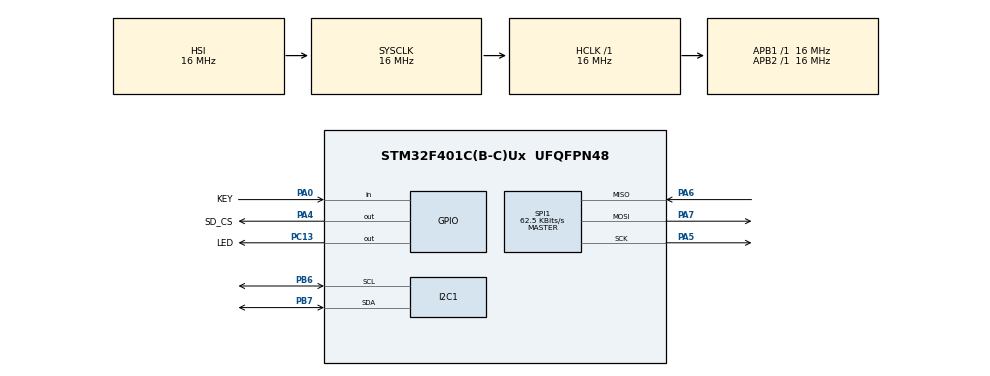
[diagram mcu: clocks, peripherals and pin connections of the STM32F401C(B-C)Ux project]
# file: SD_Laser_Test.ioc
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Mcu.Family=STM32F4
Mcu.Name=STM32F401C(B-C)Ux
Mcu.Package=UFQFPN48
NVIC.PriorityGroup=NVIC_PRIORITYGROUP_4
PA0-WKUP.GPIO_Label=KEY
PA0-WKUP.GPIO_PuPd=GPIO_PULLUP
PA0-WKUP.Signal=GPIO_Input
PA13.Mode=Serial_Wire
PA13.Signal=SYS_JTMS-SWDIO
PA14.Mode=Serial_Wire
PA14.Signal=SYS_JTCK-SWCLK
PA4.GPIO_Label=SD_CS
PA4.GPIO_Speed=GPIO_SPEED_FREQ_MEDIUM
PA4.PinState=GPIO_PIN_SET
PA4.Signal=GPIO_Output
PA5.Mode=Full_Duplex_Master
PA5.Signal=SPI1_SCK
PA6.Mode=Full_Duplex_Master
PA6.Signal=SPI1_MISO
PA7.Mode=Full_Duplex_Master
PA7.Signal=SPI1_MOSI
PB6.Mode=I2C
PB6.Signal=I2C1_SCL
PB7.Mode=I2C
PB7.Signal=I2C1_SDA
PC13-ANTI_TAMP.GPIO_Label=LED
PC13-ANTI_TAMP.Signal=GPIO_Output
ProjectManager.HeapSize=0x200
ProjectManager.StackSize=0x400
ProjectManager.TargetToolchain=STM32CubeIDE
RCC.AHBFreq_Value=16000000
RCC.APB1Freq_Value=16000000
RCC.APB2Freq_Value=16000000
RCC.CortexFreq_Value=16000000
RCC.HSE_VALUE=25000000
RCC.HSI_VALUE=16000000
RCC.LSE_VALUE=32768
RCC.SYSCLKFreq_VALUE=16000000
RCC.VCOOutputFreq_Value=192000000
SPI1.BaudRatePrescaler=SPI_BAUDRATEPRESCALER_256
SPI1.CalculateBaudRate=62.5 KBits/s
SPI1.Direction=SPI_DIRECTION_2LINES
SPI1.Mode=SPI_MODE_MASTER
SPI1.VirtualType=VM_MASTER
VP_FATFS_VS_Generic.Mode=User_defined
board=custom

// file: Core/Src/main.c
/* USER CODE BEGIN Header */
/**
  ******************************************************************************
  * @file           : main.c
  * @brief          : Main program body
  ******************************************************************************
  * @attention
  *
  * Copyright (c) 2026 STMicroelectronics.
  * All rights reserved.
  *
  * This software is licensed under terms that can be found in the LICENSE file
  * in the root directory of this software component.
  * If no LICENSE file comes with this software, it is provided AS-IS.
  *
  ******************************************************************************
  */
/* USER CODE END Header */
#include "main.h"
#include "fatfs.h"
#include "i2c.h"
#include "spi.h"
#include "gpio.h"

/* USER CODE BEGIN Includes */
#include "fatfs.h"
#include "vl53l0x_api.h"
#include <stdio.h>
#include <string.h>
/* USER CODE END Includes */

void SystemClock_Config(void);

/* USER CODE BEGIN 0 */

#define DISTANCE_NO_TARGET 65535

#define WALL_DISTANCE_MM 1200
#define SENSOR_TOLERANCE_MM 30

#define BLOCK_DELTA_MM 200
#define CLEAR_DELTA_MM 80

#define BLOCK_THRESHOLD_MM (WALL_DISTANCE_MM - BLOCK_DELTA_MM)
#define CLEAR_THRESHOLD_MM (WALL_DISTANCE_MM - CLEAR_DELTA_MM)

#define SAMPLE_DELAY_MS 300
#define LOG_EVERY_MS 1000
#define PASS_COOLDOWN_MS 1000

typedef enum {
    STATE_EMPTY = 0,
    STATE_BLOCKED = 1
} PassageState;

static VL53L0X_Dev_t vl53_dev;
static VL53L0X_DEV vl53 = &vl53_dev;

static void led_on(void)
{
    HAL_GPIO_WritePin(LED_GPIO_Port, LED_Pin, GPIO_PIN_RESET);
}

static void led_off(void)
{
    HAL_GPIO_WritePin(LED_GPIO_Port, LED_Pin, GPIO_PIN_SET);
}

static int key_is_pressed(void)
{
    return HAL_GPIO_ReadPin(KEY_GPIO_Port, KEY_Pin) == GPIO_PIN_RESET;
}

static void wait_for_key_press(void)
{
    led_off();

    while (!key_is_pressed()) {
        HAL_Delay(20);
    }

    HAL_Delay(50);

    while (key_is_pressed()) {
        led_on();
        HAL_Delay(20);
    }

    HAL_Delay(50);

    led_off();
}
static int vl53_init_sensor(void)
{
    VL53L0X_Error status;
    uint32_t ref_spad_count;
    uint8_t is_aperture_spads;
    uint8_t vhv_settings;
    uint8_t phase_cal;

    vl53->I2cDevAddr = 0x29 << 1;
    vl53->comms_type = 1;
    vl53->comms_speed_khz = 100;

    status = VL53L0X_DataInit(vl53);

    if (status != VL53L0X_ERROR_NONE) {
        return 1;
    }

    status = VL53L0X_StaticInit(vl53);

    if (status != VL53L0X_ERROR_NONE) {
        return 2;
    }

    status = VL53L0X_PerformRefSpadManagement(vl53, &ref_spad_count, &is_aperture_spads);

    if (status != VL53L0X_ERROR_NONE) {
        return 3;
    }

    status = VL53L0X_PerformRefCalibration(vl53, &vhv_settings, &phase_cal);

    if (status != VL53L0X_ERROR_NONE) {
        return 4;
    }

    status = VL53L0X_SetDeviceMode(vl53, VL53L0X_DEVICEMODE_SINGLE_RANGING);

    if (status != VL53L0X_ERROR_NONE) {
        return 5;
    }

    return 0;
}

static int is_person_detected(uint16_t distance)
{
    if (distance == DISTANCE_NO_TARGET) {
        return 0;
    }

    if (distance < BLOCK_THRESHOLD_MM) {
        return 1;
    }

    return 0;
}

static int is_area_clear(uint16_t distance)
{
    if (distance == DISTANCE_NO_TARGET) {
        return 1;
    }

    if (distance > CLEAR_THRESHOLD_MM) {
        return 1;
    }

    return 0;
}

static int vl53_read_distance(uint16_t *distance_mm)
{
    VL53L0X_Error status;
    VL53L0X_RangingMeasurementData_t measurement;

    status = VL53L0X_PerformSingleRangingMeasurement(vl53, &measurement);

    if (status != VL53L0X_ERROR_NONE) {
        return 1;
    }

    if (measurement.RangeStatus != 0) {
        *distance_mm = DISTANCE_NO_TARGET;
        return 0;
    }

    *distance_mm = measurement.RangeMilliMeter;

    return 0;
}

static int append_line_to_file(const char *filename, const char *line)
{
    FIL file;
    FRESULT res;
    UINT written;

    res = f_open(&file, filename, FA_OPEN_ALWAYS | FA_WRITE);

    if (res != FR_OK) {
        return 1;
    }

    res = f_lseek(&file, f_size(&file));

    if (res != FR_OK) {
        f_close(&file);
        return 2;
    }

    res = f_write(&file, line, strlen(line), &written);

    if (res != FR_OK || written != strlen(line)) {
        f_close(&file);
        return 3;
    }

    res = f_close(&file);

    if (res != FR_OK) {
        return 4;
    }

    return 0;
}

static int write_count_file(uint32_t count)
{
    FIL file;
    FRESULT res;
    UINT written;
    char line[64];

    snprintf(line, sizeof(line), "count=%lu\r\n", (unsigned long)count);

    res = f_open(&file, "COUNT.TXT", FA_CREATE_ALWAYS | FA_WRITE);

    if (res != FR_OK) {
        return 1;
    }

    res = f_write(&file, line, strlen(line), &written);

    if (res != FR_OK || written != strlen(line)) {
        f_close(&file);
        return 2;
    }

    res = f_sync(&file);

    if (res != FR_OK) {
        f_close(&file);
        return 3;
    }

    res = f_close(&file);

    if (res != FR_OK) {
        return 4;
    }

    return 0;
}

static int write_startup_files(void)
{
    int error;

    error = append_line_to_file("LOG.TXT", "\r\n--- START ---\r\n");

    if (error != 0) {
        return 1;
    }

    error = append_line_to_file("EVENTS.TXT", "\r\n--- START ---\r\n");

    if (error != 0) {
        return 2;
    }

    error = write_count_file(0);

    if (error != 0) {
        return 3;
    }

    return 0;
}

/* USER CODE END 0 */

int main(void)
{

  /* MCU Configuration--------------------------------------------------------*/

  /* Reset of all peripherals, Initializes the Flash interface and the Systick. */
  HAL_Init();

  /* Configure the system clock */
  SystemClock_Config();

  /* Initialize all configured peripherals */
  MX_GPIO_Init();
  MX_I2C1_Init();
  MX_SPI1_Init();
  MX_FATFS_Init();
  /* USER CODE BEGIN 2 */

  FATFS fs;
  FRESULT mount_res;

  uint32_t count = 0;
  uint32_t time_ms = 0;
  uint32_t last_log_ms = 0;
  uint32_t last_pass_ms = 0;

  uint16_t distance = 0;
  int sensor_error = 0;
  int system_error = 0;

  PassageState state = STATE_EMPTY;

  char line[128];

  HAL_Delay(500);

  led_off();

  wait_for_key_press();

  HAL_GPIO_WritePin(SD_CS_GPIO_Port, SD_CS_Pin, GPIO_PIN_SET);
  HAL_Delay(200);

  mount_res = f_mount(&fs, "", 1);

  if (mount_res != FR_OK) {
      system_error = 1;
  }

  if (system_error == 0) {
      system_error = vl53_init_sensor();

      if (system_error != 0) {
          system_error = 2;
      }
  }

  if (system_error == 0) {
      count = 0;
      state = STATE_EMPTY;
      last_pass_ms = 0;
      last_log_ms = HAL_GetTick();

      system_error = write_startup_files();

      if (system_error != 0) {
          system_error = 3;
      }
  }

  if (system_error == 0) {
      system_error = write_count_file(count);

      if (system_error != 0) {
          system_error = 4;
      }
  }

  /* Infinite loop */
  /* USER CODE BEGIN WHILE */

  while (1)
  {
	  if (system_error != 0) {
	      led_off();
	      HAL_Delay(1000);

	      for (int i = 0; i < system_error; i++) {
	          led_on();
	          HAL_Delay(300);
	          led_off();
	          HAL_Delay(300);
	      }

	      HAL_Delay(2000);
	      continue;
	  }

      time_ms = HAL_GetTick();
      sensor_error = vl53_read_distance(&distance);

      if (sensor_error == 0) {
          if (state == STATE_EMPTY && is_person_detected(distance)) {
              state = STATE_BLOCKED;
              led_on();

              snprintf(line, sizeof(line),
                       "time_ms=%lu, event=BLOCKED, distance=%u, count=%lu\r\n",
                       (unsigned long)time_ms,
                       distance,
                       (unsigned long)count);

              append_line_to_file("EVENTS.TXT", line);
              append_line_to_file("LOG.TXT", line);
          }

          if (state == STATE_BLOCKED && is_area_clear(distance)) {
              if ((time_ms - last_pass_ms) >= PASS_COOLDOWN_MS) {
                  state = STATE_EMPTY;
                  led_off();

                  count++;
                  last_pass_ms = time_ms;

                  if (distance == DISTANCE_NO_TARGET) {
                      snprintf(line, sizeof(line),
                               "time_ms=%lu, event=PASS, distance=NO_TARGET, count=%lu\r\n",
                               (unsigned long)time_ms,
                               (unsigned long)count);
                  } else {
                      snprintf(line, sizeof(line),
                               "time_ms=%lu, event=PASS, distance=%u, count=%lu\r\n",
                               (unsigned long)time_ms,
                               distance,
                               (unsigned long)count);
                  }

                  append_line_to_file("EVENTS.TXT", line);
                  append_line_to_file("LOG.TXT", line);
                  write_count_file(count);
              }
          }

          if ((time_ms - last_log_ms) >= LOG_EVERY_MS) {
              last_log_ms = time_ms;

              if (distance == DISTANCE_NO_TARGET) {
                  snprintf(line, sizeof(line),
                           "time_ms=%lu, distance=NO_TARGET, count=%lu, state=%s\r\n",
                           (unsigned long)time_ms,
                           (unsigned long)count,
                           state == STATE_EMPTY ? "EMPTY" : "BLOCKED");
              } else {
                  snprintf(line, sizeof(line),
                           "time_ms=%lu, distance=%u, count=%lu, state=%s\r\n",
                           (unsigned long)time_ms,
                           distance,
                           (unsigned long)count,
                           state == STATE_EMPTY ? "EMPTY" : "BLOCKED");
              }

              append_line_to_file("LOG.TXT", line);
          }
      } else {
          if ((time_ms - last_log_ms) >= LOG_EVERY_MS) {
              last_log_ms = time_ms;

              snprintf(line, sizeof(line),
                       "time_ms=%lu, sensor_error=%d, count=%lu, state=%s\r\n",
                       (unsigned long)time_ms,
                       sensor_error,
                       (unsigned long)count,
                       state == STATE_EMPTY ? "EMPTY" : "BLOCKED");

              append_line_to_file("LOG.TXT", line);
          }
      }

      HAL_Delay(SAMPLE_DELAY_MS);

	}

    /* USER CODE END WHILE */

}

void SystemClock_Config(void)
{
  RCC_OscInitTypeDef RCC_OscInitStruct = {0};
  RCC_ClkInitTypeDef RCC_ClkInitStruct = {0};

  /** Configure the main internal regulator output voltage
  */
  __HAL_RCC_PWR_CLK_ENABLE();
  __HAL_PWR_VOLTAGESCALING_CONFIG(PWR_REGULATOR_VOLTAGE_SCALE2);

  /** Initializes the RCC Oscillators according to the specified parameters
  * in the RCC_OscInitTypeDef structure.
  */
  RCC_OscInitStruct.OscillatorType = RCC_OSCILLATORTYPE_HSI;
  RCC_OscInitStruct.HSIState = RCC_HSI_ON;
  RCC_OscInitStruct.HSICalibrationValue = RCC_HSICALIBRATION_DEFAULT;
  RCC_OscInitStruct.PLL.PLLState = RCC_PLL_NONE;
  if (HAL_RCC_OscConfig(&RCC_OscInitStruct) != HAL_OK)
  {
    Error_Handler();
  }

  /** Initializes the CPU, AHB and APB buses clocks
  */
  RCC_ClkInitStruct.ClockType = RCC_CLOCKTYPE_HCLK|RCC_CLOCKTYPE_SYSCLK
                              |RCC_CLOCKTYPE_PCLK1|RCC_CLOCKTYPE_PCLK2;
  RCC_ClkInitStruct.SYSCLKSource = RCC_SYSCLKSOURCE_HSI;
  RCC_ClkInitStruct.AHBCLKDivider = RCC_SYSCLK_DIV1;
  RCC_ClkInitStruct.APB1CLKDivider = RCC_HCLK_DIV1;
  RCC_ClkInitStruct.APB2CLKDivider = RCC_HCLK_DIV1;

  if (HAL_RCC_ClockConfig(&RCC_ClkInitStruct, FLASH_LATENCY_0) != HAL_OK)
  {
    Error_Handler();
  }
}

void Error_Handler(void)
{
  __disable_irq();
  while (1)
  {
  }
}
